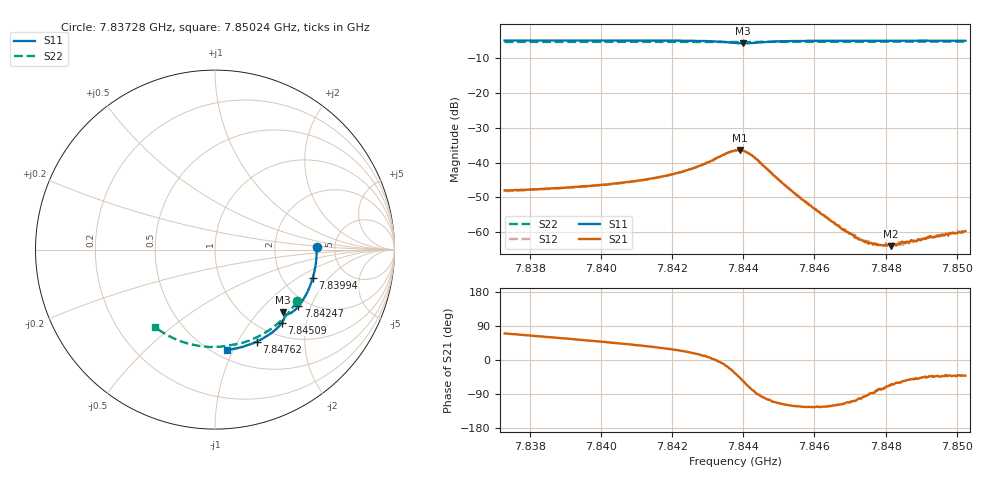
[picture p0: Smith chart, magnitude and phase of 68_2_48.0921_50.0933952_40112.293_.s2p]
#  HZ  S  RI  R  50.00
! Rohde & Schwarz Vector Network Analyzer
! Rohde-Schwarz,ZNB20-2Port,1311601062101988,3.16
! Created: UTC 12/23/2023, 3:41:28 AM
! freq[Hz]  re:S11  im:S11  re:S21  im:S21  re:S12  im:S12  re:S22  im:S22
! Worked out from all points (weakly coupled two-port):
!   401 points, 7.83728 GHz to 7.85024 GHz, reference 50 ohm
!   highest |S21| = -36.40 dB at 7.84389 GHz (marker M1); lowest = -63.9 dB at 7.84814 GHz (marker M2)
!   lowest |S11| = -5.8 dB at 7.84399 GHz (marker M3), VSWR 3.12, Z = 72.2 - j68.7 ohm
!   |S11| at or under -10 dB: nowhere
!   |S22| runs from -5.4 to -5.3 dB; largest |S21 - S12| = 0.00026
!   S11 on the Smith chart (normalised r, x): 7.83728 GHz: 3.60, +0.17; 7.83994 GHz: 2.91, -1.37; 7.84247 GHz: 1.77, -1.64; 7.84509 GHz: 1.24, -1.46; 7.84762 GHz: 0.80, -1.20; 7.85024 GHz: 0.58, -0.94
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7.837283e9  0.5663 0.0164  0.00136 0.00375  0.00139 0.0037  0.4569 -0.2873
7.839454e9  0.5526 -0.1276  0.00274 0.00363  0.0027 0.00358  0.3595 -0.4038
7.83994e9  0.5442 -0.1591  0.00312 0.00359  0.00311 0.00354  0.3335 -0.4257
7.841625e9  0.4996 -0.2654  0.00522 0.00336  0.00516 0.00336  0.2335 -0.4885
7.842468e9  0.465 -0.3157  0.00744 0.00283  0.00736 0.00278  0.1786 -0.5111
7.843278e9  0.4161 -0.3563  0.0119 -0.000621  0.0119 -0.000566  0.1236 -0.5261
7.843764e9  0.3814 -0.3568  0.0123 -0.0086  0.0123 -0.00843  0.091 -0.5315
7.843894e9  0.3778 -0.3524  0.0105 -0.0109  0.0105 -0.0108  0.0829 -0.5327
7.843991e9  0.378 -0.3495  0.0083 -0.0122  0.00834 -0.0123  0.0768 -0.5335
7.844347e9  0.3874 -0.3568  0.000656 -0.0113  0.000869 -0.0114  0.0539 -0.5377
7.845093e9  0.3732 -0.407  -0.00226 -0.00459  -0.00224 -0.00462  0.00187 -0.5427
7.845935e9  0.3312 -0.4514  -0.00127 -0.00191  -0.0013 -0.00192  -0.0578 -0.5406
7.84694e9  0.274 -0.4911  -0.000377 -0.000931  -0.000387 -0.000924  -0.1275 -0.5292
7.847199e9  0.2587 -0.4997  -0.000207 -0.000792  -0.000209 -0.000809  -0.1451 -0.5248
7.84762e9  0.2331 -0.5123  3.81e-05 -0.000692  -5.26e-06 -0.000696  -0.1734 -0.5163
7.847912e9  0.2151 -0.5203  0.000163 -0.000628  0.000193 -0.000626  -0.1927 -0.5097
7.848106e9  0.203 -0.5252  0.000271 -0.00063  0.000248 -0.000596  -0.2057 -0.5049
7.848139e9  0.201 -0.5261  0.00025 -0.000585  0.000268 -0.00061  -0.2077 -0.5039
7.848495e9  0.1785 -0.5339  0.000398 -0.000584  0.000376 -0.000541  -0.2307 -0.4941
7.848787e9  0.1599 -0.5399  0.000475 -0.000556  0.000513 -0.000579  -0.2491 -0.4852
7.84924e9  0.1305 -0.5476  0.000638 -0.000611  0.00061 -0.000572  -0.2771 -0.4701
7.850245e9  0.0647 -0.5588  0.000779 -0.000689  0.000782 -0.000706  -0.3356 -0.4309
